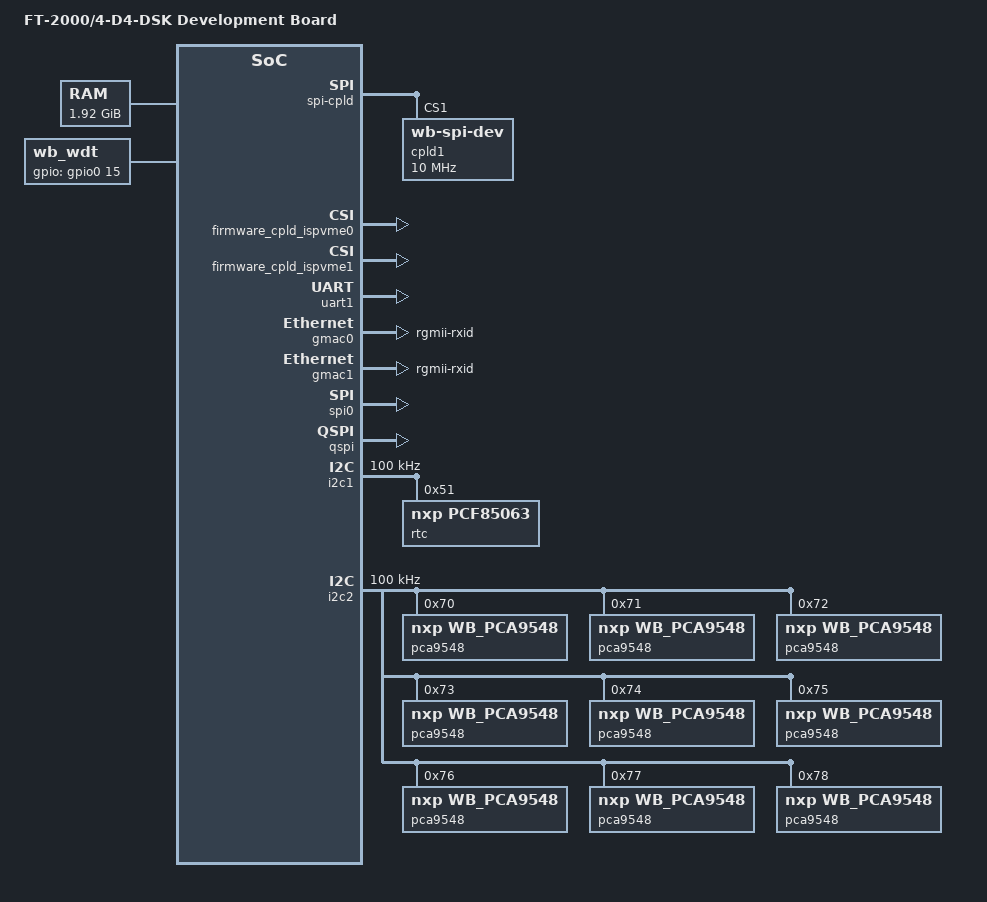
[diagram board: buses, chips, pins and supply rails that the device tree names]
// SPDX-License-Identifier: GPL-2.0
/*
 * DTS file for phytium FT-2000/4 devboard (FT-2000/4-D4-DSK series)
 *
 * Copyright (C) 2018-2019, Phytium Technology Co., Ltd.
 */

/dts-v1/;
/memreserve/ 0x80000000 0x10000;

#include <ft2004v2-generic-psci-soc.dtsi>

/{
    model = "FT-2000/4-D4-DSK Development Board";
    compatible = "phytium,ft2004c";
    #address-cells = <2>;
    #size-cells = <2>;

    chosen {
        stdout-path = "uart1:115200n8";
    };

    memory@00{
        device_type = "memory";
        reg = <0x0 0x80000000 0x0 0x7b000000>;
    };
    
    /*
    memory@01{
        device_type = "memory";
        reg = <0x20 0x00000000 0x1 0x00000000>;
    };
    */
    
/*	firmware {
        optee {
            compatible = "linaro,optee-tz";
            method = "smc";
        };
	};*/

    soc {
        /* CPU板上的CPLD，通过LPC总线进行访问 */
        cpld0 {
            io_dev_name = "cpld0";
            compatible = "wb-io-dev";
            io_type = /bits/ 8 <0x1>;       /* 0:ioport, 1:iomen */
            io_base = <0x20000000>;
            io_len  = <0x0100>;
        };

        /* CPU板上的CPLD模拟的SPI控制器 */
        spi-cpld {
            compatible = "spi-cpld";
            reg = <0x0 0x20000000 0x0 0x100000>;
            #address-cells = <1>;
            #size-cells = <0>;

            /* CPLD模拟的SPI控制器下挂了3个CPLD，分别为主CPLD、从CPLD、风扇板CPLD，3个CPLD只使用了一个片选，
             * CPLD通过地址来进行区分。作为SPI设备，其在SPI master注册时会被创建出来 */
            cpld1:cpld1 {
                compatible = "wb-spi-dev";
                reg = <0x1>;                         /* 指定spi设备使用的片选信号。即spi->chip_select */
                spi-max-frequency = <10000000>;      /* 指定spi设备工作的最大频率。即spi->max_speed_hz */

                spi_dev_name      = "cpld1";         /* 生成的misc设备的名称 */
                data_bus_width    = <1>;             /* spi设备的数据位宽，单位B */
                addr_bus_width    = <2>;             /* spi设备的地址位宽，单位B。该设备采用cmd(1B) + addr(2B) + data(1-8B)的数据格式 */
                per_rd_len        = <1>;             /* 一次SPI数据传输，最大读取的数据长度。目前是由于spi控制器数据buf最大为8B，但cpld按1B读写，故这里只能配1 */
                per_wr_len        = <1>;             /* 一次SPI数据传输，最大写入的数据长度。目前是由于spi控制器数据buf最大为8B，但cpld按1B读写，故这里只能配1 */
                spi_len           = <0x10000>;
            };
        };

        /* 用于固件升级前，初始化GPIO的到一个默认的状态，以防止GPIO模拟的JTAG信号抖动，出现不可预知的问题 */
        gpio_init {
            compatible  = "gpio_init";
            gpioport@0 {                            /* 该设备节点包含的gpio信息，具体表示方式如下 */
                gpio            = <27>;             /* GPIO的编号 */
                init_direction  = <0>;              /* GPIO的配置方向。0：输出；1：输入 */
                init_level      = <1>;	            /* GPIO的输出电平。0：输出低电平；1：输出高电平 */
            };
            gpioport@1 {                            /* 该设备节点包含的gpio信息，具体表示方式如下 */
                gpio            = <30>;                     /* GPIO的编号 */
                init_direction  = <0>;              /* GPIO的配置方向。0：输出；1：输入 */
                init_level      = <0>;              /* GPIO的输出电平。0：输出低电平；1：输出高电平 */
            };
            gpioport@2 {                            /* 该设备节点包含的gpio信息，具体表示方式如下 */
                gpio            = <29>;              /* GPIO的编号 */
                init_direction  = <0>;              /* GPIO的配置方向。0：输出；1：输入 */
                init_level      = <1>;              /* GPIO的输出电平。0：输出低电平；1：输出高电平 */
            };
            gpioport@3 {                            /* 该设备节点包含的gpio信息，具体表示方式如下 */
                gpio            = <28>;             /* GPIO的编号 */
                init_direction  = <1>;              /* GPIO的配置方向。0：输出；1：输入 */
                init_level      = <0>;              /* GPIO的输出电平。0：输出低电平；1：输出高电平 */
            };
            gpioport@4 {                            /* 该设备节点包含的gpio信息，具体表示方式如下 */
                gpio            = <26>;             /* GPIO的编号 */
                init_direction  = <0>;              /* GPIO的配置方向。0：输出；1：输入 */
                init_level      = <0>;              /* GPIO的输出电平。0：输出低电平；1：输出高电平 */
            };
            gpioport@5 {                            /* 该设备节点包含的gpio信息，具体表示方式如下 */
                gpio            = <25>;             /* GPIO的编号 */
                init_direction  = <0>;              /* GPIO的配置方向。0：输出；1：输入 */
                init_level      = <1>;              /* GPIO的输出电平。0：输出低电平；1：输出高电平 */
            };
        };

        /* 用于固件升级CPU板上的CPLD */
        firmware_cpld_ispvme0 {
            compatible  = "firmware_cpld_ispvme";
            type        = "JTAG";
            tdi         = <27>;
            tck         = <30>;
            tms         = <29>;
            tdo         = <28>;
            chain       = <1>;
            chip_index  = <1>;
            en_gpio_0   = <26>;     /* ONLINE_JTAG_EN  GPIO1_B2  使能在线升级，需要配置为低电平0 */
            en_level_0  = <0>;      /* 默认配置为0，为0可不配 */
            en_gpio_1   = <25>;     /* JTAG_SEL_1  GPIO1_B1  选择升级哪条链路的CPLD：低电平0 -- 选择升级CPU板的CPLD, 高电平1 -- 选择升级底板的CPLD */
            en_level_1  = <0>;      /* 默认配置为0，为0可不配 */

            /* JTAG_EN enable/disable */
            en_logic_dev_0     = "/dev/cpld0";   /* 通过什么设备文件，来配置链路使能 */
            en_logic_addr_0    = <0xe8>;         /* 链路使能的寄存器地址 */
            en_logic_mask_0    = <0xfe>;         /* 寄存器值的掩码 */
            en_logic_en_val_0  = <0x01>;         /* 链路使能时，寄存器的配置值 */
            en_logic_dis_val_0 = <0x00>;         /* 链路失能时，寄存器的配置值 */
            en_logic_width_0   = <0x01>;         /* 逻辑设备的位宽： 1 --- 8bit、2 --- 16bit、4 --- 32bit */
        };

        /* 用于固件升级底板上的主从CPLD，即基地址分别为0x2000、0x4000的CPLD */
        firmware_cpld_ispvme1 {
            compatible  = "firmware_cpld_ispvme";
            type        = "JTAG";
            tdi         = <27>;
            tck         = <30>;
            tms         = <29>;
            tdo         = <28>;
            chain       = <2>;
            chip_index  = <1>;
            en_gpio_0   = <26>;
            en_level_0  = <0>;
            en_gpio_1   = <25>;
            en_level_1  = <1>;

            /* JTAG_EN enable/disable */
            en_logic_dev_0     = "/dev/cpld0";   /* 通过什么设备文件，来配置链路使能 */
            en_logic_addr_0    = <0xe8>;         /* 链路使能的寄存器地址 */
            en_logic_mask_0    = <0xfe>;         /* 寄存器值的掩码 */
            en_logic_en_val_0  = <0x01>;         /* 链路使能时，寄存器的配置值 */
            en_logic_dis_val_0 = <0x00>;         /* 链路失能时，寄存器的配置值 */
            en_logic_width_0   = <0x01>;         /* 逻辑设备的位宽： 1 --- 8bit、2 --- 16bit、4 --- 32bit */
        };

        /* 用于固件升级底板上风扇板CPLD，即基地址为0x8000的CPLD */
        firmware_sysfs0 {
            compatible  = "firmware_sysfs";
            type        = "MTD_DEV";
            chain       = <1>;
            chip_index  = <1>;
            mtd_name    = "spi0.2";  /* mtd设备的名称 */  
            flash_base  = <0>;       /* flash基地址，固件将更新到这个位置，固件占据的空间大小为固件文件的大小（按flash块对齐） */
        };
        
        wdt {
            compatible = "wb_wdt";
            config_dev_name = "/dev/cpld1";
            hw_algo = "toggle";
            config_mode = /bits/ 8 <1>;     /* gpio feed wdt mode */
            priv_func_mode = /bits/ 8 <5>;  /* spi dev mode */
            enable_val = /bits/ 8 <0x10>;
            disable_val = /bits/ 8 <0x10>;  /* 不希望在卸载的时候，关闭 */
            enable_mask = /bits/ 8 <0x10>;
            enable_reg = <0x200a>;
            timeout_cfg_reg = <0x20a4>;     /* 测试寄存器,不需要设置时间 */
            hw_margin_ms = <200>;           /* timeout_cfg_reg都是假的，这个没什么用 */
            feed_wdt_type = /bits/ 8 <1>;   /* hrtime type */
            timer_accuracy = <1>;           /* 没什么用 */
            feed_time = <10>;               /* ms */
            gpios = <&gpio0 15 0>;
        };

        /* 新增1个DTS节点，用来配置PHY RTL8211的LED寄存器，用于mgmt点灯 */
        rtl8211-phy-led@0 {
            lcr    = <0x2f60>;               /* LCR寄存器的值 */
            eeelcr = <0x6001>;               /* EEELCR寄存器的值 */
            flcr   = <0x03a9>;               /* FLCR寄存器的值 */

        };
    };
};

&gpio0 {
    status = "ok";
};

&gpio1 {
    status = "ok";
};

&uart1 {
    status = "ok";
};

&gmac0 {
    status = "ok";
    phy-mode = "rgmii-rxid";
};

&gmac1 {
    status = "ok";
    phy-mode = "rgmii-rxid";
};

&spi0 {
	status = "ok";
};

&qspi {
    status = "ok";
};

&i2c1 {
    clock-frequency = <100000>;
    
    /* sda保持时间配置，保证I2C外设不会因为SDA的保持时间不够而报I2C TX abort：lost arbitrary的错误 */
    i2c-sda-hold-time-ns = <100>;

    /* 只有status = "ok" or "okay"的I2C设备节点才会被创建出平台设备 */
    status = "ok";
    
    #address-cells = <1>;
    #size-cells = <0>;

    rtc@51 {
        compatible = "nxp,pcf85063";
        reg = <0x51>;
        cap-mode = <0x1>;
        clock-freq = <0x7>;
    };
};

&i2c2 {
    clock-frequency = <100000>;
    
    /* sda保持时间配置，保证I2C外设不会因为SDA的保持时间不够而报I2C TX abort：lost arbitrary的错误 */
    i2c-sda-hold-time-ns = <100>;
    
    status = "ok";
    
    #address-cells = <1>;
    #size-cells = <0>;
    
    /************** 主CPLD上模拟的PCA9548, PCA9548复位通过主CPLD内部寄存器进行控制 **************/
    pca9548@70 {
        /* 通过id_table和驱动匹配 */
        compatible = "nxp,wb_pca9548";
        
        /* 用来指定pca9548的i2c从地址 */
        reg = <0x70>;
        
        /* 用来指明其从设备reg的属性只有一个addr单元 */
        #address-cells = <1>;
        #size-cells = <0>;

        probe_disable;                      /* 启动过程中，不做smbus读写，直接创建出I2C设备 */

        select_chan_check;                  /* 开启9548通道时，检查是否打开通道成功，如果失败，会进行PCA9548复位 */
        close_chan_force_reset;             /* 关闭9548通道时，强制进行PCA9548复位 */
        
        pca9548_reset_type = <4>;           /* 1:I2C  2:GPIO  3:IO  4:FILE */
        /* 复位前 + 复位过程 + 复位后 的延迟时间，单位us */
        rst_delay_b = <1>;
        rst_delay   = <2>;                   /* S6231 CPLD模拟的PCA9548复位时间间隔约为120ns，故这里设备为2us */
        rst_delay_a = <1>;
        dev_name  = "/dev/cpld1";            /* 复位时，要操作的设备文件 */
        offset    = <0x205c>;                /* 复位时，要操作的寄存器地址 */
        mask      = <0x01>;                  /* 掩码，要操作哪个bit，就把哪个bit置1 */
        reset_on  = <0x00>;                  /* 低电平复位时，则填0；否则和mask一致 */
        reset_off = <0x01>;                  /* 低电平复位时，和mask一致，否则填0 */
    };
    
    pca9548@71 {
        compatible = "nxp,wb_pca9548";
        reg = <0x71>;
        #address-cells = <1>;
        #size-cells = <0>;

        probe_disable;                      /* 启动过程中，不做smbus读写，直接创建出I2C设备 */

        select_chan_check;                  /* 开启9548通道时，检查是否打开通道成功，如果失败，会进行PCA9548复位 */
        close_chan_force_reset;             /* 关闭9548通道时，强制进行PCA9548复位 */
        
        pca9548_reset_type = <4>;           /* 1:I2C  2:GPIO  3:IO  4:FILE */
        rst_delay_b = <1>;
        rst_delay   = <2>;
        rst_delay_a = <1>;

        dev_name  = "/dev/cpld1";            /* 复位时，要操作的设备文件 */
        offset    = <0x205c>;                /* 复位时，要操作的寄存器地址 */
        mask      = <0x02>;                  /* 掩码，要操作哪个bit，就把哪个bit置1 */
        reset_on  = <0x00>;
        reset_off = <0x02>;
    };
    
    pca9548@72 {
        compatible = "nxp,wb_pca9548";
        reg = <0x72>;
        #address-cells = <1>;
        #size-cells = <0>;
        probe_disable;                      /* 启动过程中，不做smbus读写，直接创建出I2C设备 */

        select_chan_check;                  /* 开启9548通道时，检查是否打开通道成功，如果失败，会进行PCA9548复位 */
        close_chan_force_reset;             /* 关闭9548通道时，强制进行PCA9548复位 */
        
        pca9548_reset_type = <4>;           /* 1:I2C  2:GPIO  3:IO  4:FILE */
        rst_delay_b = <1>;
        rst_delay   = <2>;
        rst_delay_a = <1>;

        dev_name  = "/dev/cpld1";            /* 复位时，要操作的设备文件 */
        offset    = <0x205c>;                /* 复位时，要操作的寄存器地址 */
        mask      = <0x04>;                  /* 掩码，要操作哪个bit，就把哪个bit置1 */
        reset_on  = <0x00>;
        reset_off = <0x04>;
    };
    
    pca9548@73 {
        compatible = "nxp,wb_pca9548";
        reg = <0x73>;
        #address-cells = <1>;
        #size-cells = <0>;
        probe_disable;                      /* 启动过程中，不做smbus读写，直接创建出I2C设备 */

        select_chan_check;                  /* 开启9548通道时，检查是否打开通道成功，如果失败，会进行PCA9548复位 */
        close_chan_force_reset;             /* 关闭9548通道时，强制进行PCA9548复位 */
        
        pca9548_reset_type = <4>;           /* 1:I2C  2:GPIO  3:IO  4:FILE */
        rst_delay_b = <1>;
        rst_delay   = <2>;
        rst_delay_a = <1>;

        dev_name  = "/dev/cpld1";            /* 复位时，要操作的设备文件 */
        offset    = <0x205c>;                /* 复位时，要操作的寄存器地址 */
        mask      = <0x08>;                  /* 掩码，要操作哪个bit，就把哪个bit置1 */
        reset_on  = <0x00>;
        reset_off = <0x08>;
        mux-2@2{
            #address-cells = <1>;
            #size-cells = <0>;
            reg = <2>;
        };
    };
    
    /************** 从CPLD上模拟的PCA9548 **************/
    pca9548@74 {
        compatible = "nxp,wb_pca9548";
        reg = <0x74>;
        #address-cells = <1>;
        #size-cells = <0>;
        probe_disable;                      /* 启动过程中，不做smbus读写，直接创建出I2C设备 */

        select_chan_check;                  /* 开启9548通道时，检查是否打开通道成功，如果失败，会进行PCA9548复位 */
        close_chan_force_reset;             /* 关闭9548通道时，强制进行PCA9548复位 */
        
        pca9548_reset_type = <4>;           /* 1:I2C  2:GPIO  3:IO  4:FILE */
        rst_delay_b = <1>;
        rst_delay   = <2>;
        rst_delay_a = <1>;

        dev_name  = "/dev/cpld1";            /* 复位时，要操作的设备文件 */
        offset    = <0x404a>;                /* 复位时，要操作的寄存器地址 */
        mask      = <0x01>;                  /* 掩码，要操作哪个bit，就把哪个bit置1 */
        reset_on  = <0x00>;
        reset_off = <0x01>;
    };
    
    pca9548@75 {
        compatible = "nxp,wb_pca9548";
        reg = <0x75>;
        #address-cells = <1>;
        #size-cells = <0>;
        probe_disable;                      /* 启动过程中，不做smbus读写，直接创建出I2C设备 */

        select_chan_check;                  /* 开启9548通道时，检查是否打开通道成功，如果失败，会进行PCA9548复位 */
        close_chan_force_reset;             /* 关闭9548通道时，强制进行PCA9548复位 */
        
        pca9548_reset_type = <4>;           /* 1:I2C  2:GPIO  3:IO  4:FILE */
        rst_delay_b = <1>;
        rst_delay   = <2>;
        rst_delay_a = <1>;

        dev_name  = "/dev/cpld1";            /* 复位时，要操作的设备文件 */
        offset    = <0x404a>;                /* 复位时，要操作的寄存器地址 */
        mask      = <0x02>;                  /* 掩码，要操作哪个bit，就把哪个bit置1 */
        reset_on  = <0x00>;
        reset_off = <0x02>;
    };
    
    pca9548@76 {
        compatible = "nxp,wb_pca9548";
        reg = <0x76>;
        #address-cells = <1>;
        #size-cells = <0>;
        probe_disable;                      /* 启动过程中，不做smbus读写，直接创建出I2C设备 */

        select_chan_check;                  /* 开启9548通道时，检查是否打开通道成功，如果失败，会进行PCA9548复位 */
        close_chan_force_reset;             /* 关闭9548通道时，强制进行PCA9548复位 */
        
        pca9548_reset_type = <4>;           /* 1:I2C  2:GPIO  3:IO  4:FILE */
        rst_delay_b = <1>;
        rst_delay   = <2>;
        rst_delay_a = <1>;

        dev_name  = "/dev/cpld1";            /* 复位时，要操作的设备文件 */
        offset    = <0x404a>;                /* 复位时，要操作的寄存器地址 */
        mask      = <0x04>;                  /* 掩码，要操作哪个bit，就把哪个bit置1 */
        reset_on  = <0x00>;
        reset_off = <0x04>;
    };
    
    pca9548@77 {
        compatible = "nxp,wb_pca9548";
        reg = <0x77>;
        #address-cells = <1>;
        #size-cells = <0>;
        probe_disable;                      /* 启动过程中，不做smbus读写，直接创建出I2C设备 */

        select_chan_check;                  /* 开启9548通道时，检查是否打开通道成功，如果失败，会进行PCA9548复位 */
        close_chan_force_reset;             /* 关闭9548通道时，强制进行PCA9548复位 */
        
        pca9548_reset_type = <4>;           /* 1:I2C  2:GPIO  3:IO  4:FILE */
        rst_delay_b = <1>;
        rst_delay   = <2>;
        rst_delay_a = <1>;

        dev_name  = "/dev/cpld1";            /* 复位时，要操作的设备文件 */
        offset    = <0x404a>;                /* 复位时，要操作的寄存器地址 */
        mask      = <0x08>;                  /* 掩码，要操作哪个bit，就把哪个bit置1 */
        reset_on  = <0x00>;
        reset_off = <0x08>;
    };
    
    /************** 风扇板CPLD上模拟的PCA9548 **************/
    pca9548@78 {
        compatible = "nxp,wb_pca9548";
        reg = <0x78>;
        #address-cells = <1>;
        #size-cells = <0>;
        probe_disable;                      /* 启动过程中，不做smbus读写，直接创建出I2C设备 */

        select_chan_check;                  /* 开启9548通道时，检查是否打开通道成功，如果失败，会进行PCA9548复位 */
        close_chan_force_reset;             /* 关闭9548通道时，强制进行PCA9548复位 */
        
        pca9548_reset_type = <4>;           /* 1:I2C  2:GPIO  3:IO  4:FILE */
        rst_delay_b = <1>;
        rst_delay   = <2>;
        rst_delay_a = <1>;

        dev_name  = "/dev/cpld1";            /* 复位时，要操作的设备文件 */
        offset    = <0x805b>;                /* 复位时，要操作的寄存器地址 */
        mask      = <0x01>;                  /* 掩码，要操作哪个bit，就把哪个bit置1 */
        reset_on  = <0x00>;
        reset_off = <0x01>;
    };
};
